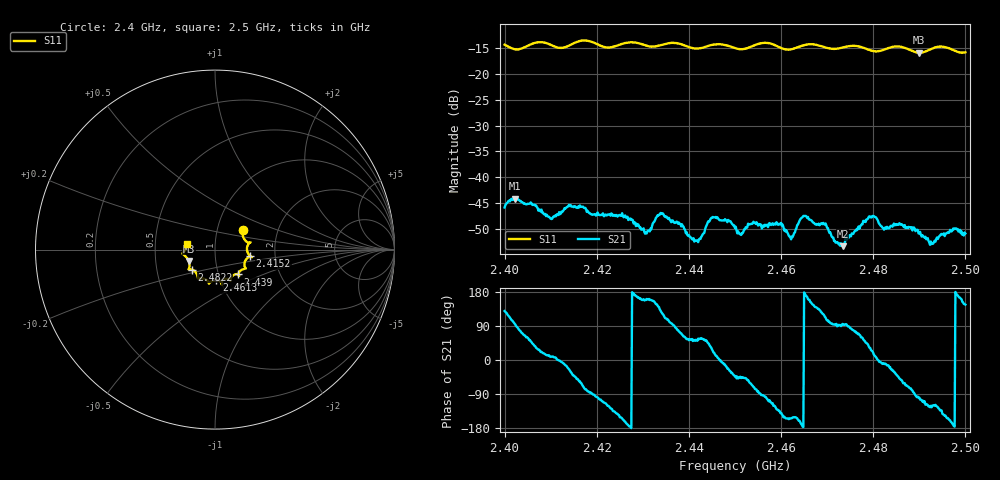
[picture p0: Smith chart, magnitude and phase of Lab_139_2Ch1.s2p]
# Hz S RI R 50
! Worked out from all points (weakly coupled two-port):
!   601 points, 2.4 GHz to 2.5 GHz, reference 50 ohm
!   highest |S21| = -44.14 dB at 2.4022 GHz (marker M1); lowest = -53.3 dB at 2.4733 GHz (marker M2)
!   lowest |S11| = -15.9 dB at 2.49 GHz (marker M3), VSWR 1.38, Z = 36.9 - j4.82 ohm
!   |S11| at or under -10 dB: start of sweep to end of sweep
!   S12 and S22 are empty: the file has one direction only
!   S11 on the Smith chart (normalised r, x): 2.4 GHz: 1.33, +0.31; 2.4152 GHz: 1.48, -0.11; 2.439 GHz: 1.24, -0.35; 2.4613 GHz: 0.96, -0.34; 2.4822 GHz: 0.76, -0.17; 2.5 GHz: 0.73, +0.05
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2.4e9  0.1553 0.1114  -0.00322 0.00395  0 0  0 0
2.402167e9  0.1555 0.0753  -0.000621 0.00618  0 0  0 0
2.41e9  0.1879 0.0328  0.00393 0.000576  0 0  0 0
2.415167e9  0.1954 -0.0364  0.00382 -0.00359  0 0  0 0
2.416667e9  0.2049 -0.0423  0.00248 -0.00453  0 0  0 0
2.430833e9  0.1488 -0.1126  -0.00271 0.000923  0 0  0 0
2.433333e9  0.1316 -0.1323  -0.00329 0.00268  0 0  0 0
2.439e9  0.1282 -0.1382  0.0015 0.00278  0 0  0 0
2.441667e9  0.1022 -0.1427  0.00149 0.00192  0 0  0 0
2.445333e9  0.0845 -0.1718  0.00384 0.0014  0 0  0 0
2.45e9  0.069 -0.1634  0.00232 -0.00223  0 0  0 0
2.461333e9  0.00749 -0.1711  -0.00263 -0.00128  0 0  0 0
2.4625e9  -0.00985 -0.1735  -0.00232 -0.00125  0 0  0 0
2.464833e9  -0.0319 -0.1857  -0.00422 -0.000206  0 0  0 0
2.466667e9  -0.0337 -0.1902  -0.00325 0.00196  0 0  0 0
2.473333e9  -0.0808 -0.1601  -0.000194 0.00214  0 0  0 0
2.4795e9  -0.1035 -0.1322  0.00372 0.00185  0 0  0 0
2.482167e9  -0.1282 -0.1116  0.00317 -0.000467  0 0  0 0
2.483333e9  -0.1393 -0.1102  0.00313 -0.0008  0 0  0 0
2.49e9  -0.1468 -0.0636  -0.000461 -0.00283  0 0  0 0
2.492667e9  -0.172 -0.0301  -0.00129 -0.00185  0 0  0 0
2.5e9  -0.1579 0.0334  -0.00237 0.00159  0 0  0 0
